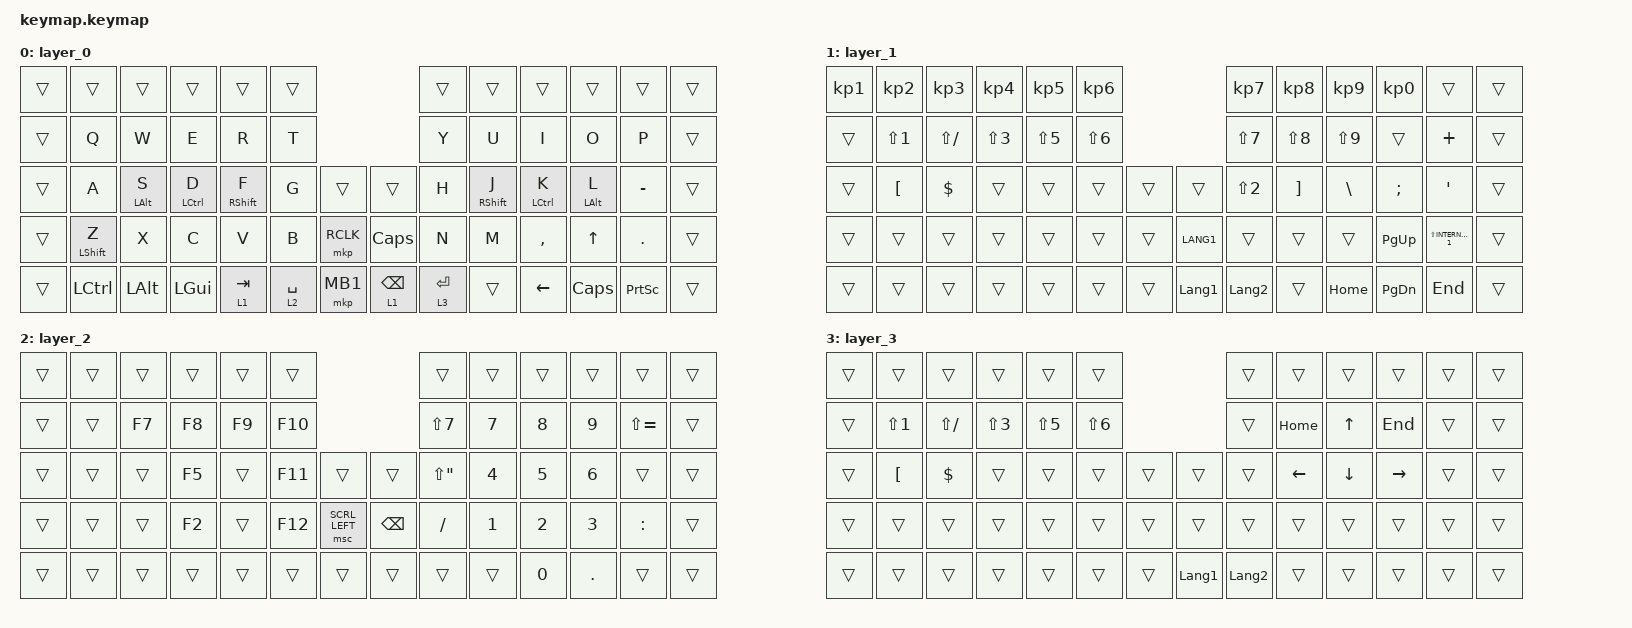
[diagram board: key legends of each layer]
#include <behaviors.dtsi>
#include <dt-bindings/zmk/bt.h>
#include <dt-bindings/zmk/keys.h>
#include <dt-bindings/zmk/pointing.h>

/ {
    combos {
        compatible = "zmk,combos";

        bt_clear {
            bindings = <&bt BT_CLR>;
            key-positions = <28 29>;
            layers = <2>;
        };

        esc {
            bindings = <&kp ESCAPE>;
            key-positions = <13 14>;
        };

        del {
            bindings = <&kp DEL>;
            key-positions = <22 21>;
        };

        mb2 {
            bindings = <&mkp MB2>;
            key-positions = <48 49>;
        };

        mb3 {
            bindings = <&mkp MB3>;
            key-positions = <47 49>;
        };

        mb1 {
            bindings = <&mkp MB1>;
            key-positions = <47 48>;
        };

        mb1lt {
            bindings = <&mkp MB1>;
            key-positions = <41 42>;
        };

        mb2lt {
            bindings = <&mkp MB2>;
            key-positions = <41 40>;
        };
    };

    behaviors {
        new_ht: new_ht {
            compatible = "zmk,behavior-hold-tap";
            label = "NEW_HT";
            bindings = <&kp>, <&kp>;

            #binding-cells = <2>;
            tapping-term-ms = <200>;
            flavor = "tap-preferred";
        };
    };

    keymap {
        compatible = "zmk,keymap";

        layer_0 {
            bindings = <
&trans  &trans                &trans              &trans                  &trans           &trans                                   &trans       &trans           &trans                  &trans              &trans           &trans
&trans  &kp Q                 &kp W               &kp E                   &kp R            &kp T                                    &kp Y        &kp U            &kp I                   &kp O               &kp P            &trans
&trans  &kp A                 &new_ht LEFT_ALT S  &new_ht LEFT_CONTROL D  &new_ht RSHFT F  &kp G        &trans     &trans           &kp H        &new_ht RSHFT J  &new_ht LEFT_CONTROL K  &new_ht LEFT_ALT L  &kp MINUS        &trans
&trans  &new_ht LEFT_SHIFT Z  &kp X               &kp C                   &kp V            &kp B        &mkp RCLK  &kp CAPS         &kp N        &kp M            &kp COMMA               &kp UP_ARROW        &kp PERIOD       &trans
&trans  &kp LCTRL             &kp LEFT_ALT        &kp LEFT_GUI            &lt 1 TAB        &lt 2 SPACE  &mkp MB1   &lt 1 BACKSPACE  &lt 3 ENTER  &trans           &kp LEFT                &kp CAPSLOCK        &kp PRINTSCREEN  &trans
            >;
        };

        layer_1 {
            bindings = <
&kp KP_N1  &kp KP_N2         &kp KP_NUMBER_3  &kp KP_NUMBER_4   &kp KP_NUMBER_5  &kp KP_NUMBER_6                           &kp KP_NUMBER_7   &kp KP_NUMBER_8    &kp KP_NUMBER_9  &kp KP_NUMBER_0  &trans                   &trans
&trans     &kp LS(NUMBER_1)  &kp LS(SLASH)    &kp LS(NUMBER_3)  &kp LS(N5)       &kp LS(NUMBER_6)                          &kp LS(N7)        &kp LS(N8)         &kp LS(N9)       &trans           &kp PLUS                 &trans
&trans     &kp LEFT_BRACKET  &kp DOLLAR       &trans            &trans           &trans            &trans  &trans          &kp LS(NUMBER_2)  &kp RIGHT_BRACKET  &kp BSLH         &kp SEMICOLON    &kp SQT                  &trans
&trans     &trans            &trans           &trans            &trans           &trans            &trans  &kp LANG1       &trans            &trans             &trans           &kp PAGE_UP      &kp LS(INTERNATIONAL_1)  &trans
&trans     &trans            &trans           &trans            &trans           &trans            &trans  &kp LANGUAGE_1  &kp LANGUAGE_2    &trans             &kp HOME         &kp PAGE_DOWN    &kp END                  &trans
            >;
        };

        layer_2 {
            bindings = <
&trans  &trans  &trans  &trans  &trans  &trans                                  &trans                 &trans        &trans        &trans        &trans         &trans
&trans  &trans  &kp F7  &kp F8  &kp F9  &kp F10                                 &kp LS(N7)             &kp N7        &kp N8        &kp N9        &kp LS(EQUAL)  &trans
&trans  &trans  &trans  &kp F5  &trans  &kp F11  &trans          &trans         &kp LS(DOUBLE_QUOTES)  &kp NUMBER_4  &kp N5        &kp NUMBER_6  &trans         &trans
&trans  &trans  &trans  &kp F2  &trans  &kp F12  &msc SCRL_LEFT  &kp BACKSPACE  &kp SLASH              &kp NUMBER_1  &kp NUMBER_2  &kp NUMBER_3  &kp COLON      &trans
&trans  &trans  &trans  &trans  &trans  &trans   &trans          &trans         &trans                 &trans        &kp N0        &kp PERIOD    &trans         &trans
            >;
        };

        layer_3 {
            bindings = <
&trans  &trans            &trans         &trans            &trans      &trans                                    &trans          &trans    &trans        &trans     &trans  &trans
&trans  &kp LS(NUMBER_1)  &kp LS(SLASH)  &kp LS(NUMBER_3)  &kp LS(N5)  &kp LS(NUMBER_6)                          &trans          &kp HOME  &kp UP_ARROW  &kp END    &trans  &trans
&trans  &kp LEFT_BRACKET  &kp DOLLAR     &trans            &trans      &trans            &trans  &trans          &trans          &kp LEFT  &kp DOWN      &kp RIGHT  &trans  &trans
&trans  &trans            &trans         &trans            &trans      &trans            &trans  &trans          &trans          &trans    &trans        &trans     &trans  &trans
&trans  &trans            &trans         &trans            &trans      &trans            &trans  &kp LANGUAGE_1  &kp LANGUAGE_2  &trans    &trans        &trans     &trans  &trans
            >;
        };
    };
};
